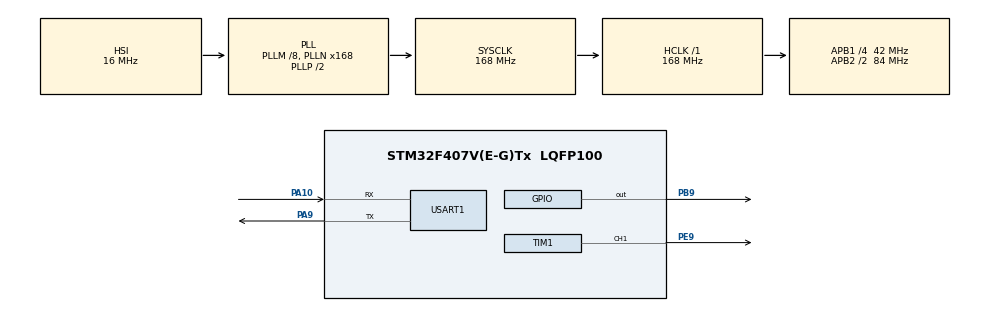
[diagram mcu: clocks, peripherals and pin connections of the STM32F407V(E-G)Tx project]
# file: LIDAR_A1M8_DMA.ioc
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Dma.Request0=USART1_RX
Dma.USART1_RX.0.Direction=DMA_PERIPH_TO_MEMORY
Dma.USART1_RX.0.FIFOMode=DMA_FIFOMODE_DISABLE
Dma.USART1_RX.0.Instance=DMA2_Stream2
Dma.USART1_RX.0.MemDataAlignment=DMA_MDATAALIGN_BYTE
Dma.USART1_RX.0.MemInc=DMA_MINC_ENABLE
Dma.USART1_RX.0.Mode=DMA_NORMAL
Dma.USART1_RX.0.PeriphDataAlignment=DMA_PDATAALIGN_BYTE
Dma.USART1_RX.0.PeriphInc=DMA_PINC_DISABLE
Dma.USART1_RX.0.Priority=DMA_PRIORITY_LOW
Mcu.Family=STM32F4
Mcu.Name=STM32F407V(E-G)Tx
Mcu.Package=LQFP100
NVIC.DMA2_Stream2_IRQn=true\:0\:0\:false\:false\:true\:false\:true\:true
NVIC.PriorityGroup=NVIC_PRIORITYGROUP_4
PA10.Mode=Asynchronous
PA10.Signal=USART1_RX
PA13.Mode=Serial_Wire
PA13.Signal=SYS_JTMS-SWDIO
PA14.Mode=Serial_Wire
PA14.Signal=SYS_JTCK-SWCLK
PA9.Mode=Asynchronous
PA9.Signal=USART1_TX
PB9.Signal=GPIO_Output
PE9.Signal=S_TIM1_CH1
PH0-OSC_IN.Mode=HSE-External-Oscillator
PH0-OSC_IN.Signal=RCC_OSC_IN
PH1-OSC_OUT.Mode=HSE-External-Oscillator
PH1-OSC_OUT.Signal=RCC_OSC_OUT
ProjectManager.HeapSize=0x200
ProjectManager.StackSize=0x400
ProjectManager.TargetToolchain=MDK-ARM V5.32
RCC.48MHZClocksFreq_Value=84000000
RCC.AHBFreq_Value=168000000
RCC.APB1CLKDivider=RCC_HCLK_DIV4
RCC.APB1Freq_Value=42000000
RCC.APB1TimFreq_Value=84000000
RCC.APB2CLKDivider=RCC_HCLK_DIV2
RCC.APB2Freq_Value=84000000
RCC.APB2TimFreq_Value=168000000
RCC.CortexFreq_Value=168000000
RCC.HCLKFreq_Value=168000000
RCC.HSE_VALUE=25000000
RCC.HSI_VALUE=16000000
RCC.LSE_VALUE=32768
RCC.PLLM=8
RCC.PLLN=168
RCC.SYSCLKFreq_VALUE=168000000
RCC.SYSCLKSource=RCC_SYSCLKSOURCE_PLLCLK
RCC.VCOOutputFreq_Value=336000000
SH.S_TIM1_CH1.0=TIM1_CH1,PWM Generation1 CH1
TIM1.Channel-PWM\ Generation1\ CH1=TIM_CHANNEL_1
TIM1.Period=1818-1
TIM1.Prescaler=168-1
USART1.VirtualMode=VM_ASYNC
VP_TIM1_VS_ClockSourceINT.Mode=Internal
board=custom

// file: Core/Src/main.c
/* USER CODE BEGIN Header */
/**
  ******************************************************************************
  * @file           : main.c
  * @brief          : Main program body
  ******************************************************************************
  * @attention
  *
  * Copyright (c) 2023 STMicroelectronics.
  * All rights reserved.
  *
  * This software is licensed under terms that can be found in the LICENSE file
  * in the root directory of this software component.
  * If no LICENSE file comes with this software, it is provided AS-IS.
  *
  ******************************************************************************
  */
/* USER CODE END Header */
#include "main.h"

/* USER CODE BEGIN Includes */
#include <math.h>
/* USER CODE END Includes */

/* USER CODE BEGIN PTD */
typedef struct{
	double dist;
	double ang;
	double degA[45];
	double degB[45];
	double degC[45];
	double degD[45];
	double degE[45];
	double degF[45];
	double degG[45];
	double degH[45];
}lidar_new_t;
/* USER CODE END PTD */

/* USER CODE BEGIN PD */
#define LIDAR_AVG_OFFSET 0
#define RECEIVER_SIZE 5
/* USER CODE END PD */

TIM_HandleTypeDef htim1;

UART_HandleTypeDef huart1;
DMA_HandleTypeDef hdma_usart1_rx;

void SystemClock_Config(void);
static void MX_GPIO_Init(void);
static void MX_DMA_Init(void);
static void MX_TIM1_Init(void);
static void MX_USART1_UART_Init(void);

/* USER CODE BEGIN 0 */
//--------- LIDAR VARIABEL ---------//
uint8_t buf_rec[30];
uint8_t buf_descriptor[100];
float distance_f = 0.0;
float angle_f = 0.0;
uint8_t start_scan_flag = 0;
uint8_t quality = 0;
double degA[45];
double degB[45];
double degC[45];
double degD[45];
double degE[45];
double degF[45];
double degG[45];
double degH[45];
double AVG[8];
long sumDegA = 0, sumDegB = 0, sumDegC = 0, sumDegD = 0, sumDegE = 0, sumDegF = 0, sumDegG=0, sumDegH=0;
int countA = 0, countB=0, countC=0, countD=0, countE=0, countF=0, countG=0, countH=0;

uint8_t is_match = 0x00;
uint8_t is_done = 0x01;
lidar_new_t lidar;

void HAL_UART_RxCpltCallback(UART_HandleTypeDef *huart)
{

	if(is_match >= 0x01){
			//-------------------- STARTING POINT -------------//
					if((buf_rec[1]&0x01)&((buf_rec[0]^(buf_rec[0]>>1))&0x01)){

						//-------------- READ PROPERTY --------------//
						angle_f = ((buf_rec[1] >> 1) | (buf_rec[2] << 7))/64.0;
						distance_f = ((buf_rec[3] | (buf_rec[4]<<8))/4.0)/10;
						quality = buf_rec[0]>>2;
						start_scan_flag = buf_rec[0] & 0x1;

						// Read 45 deg data
						// memperoleh seperempat data sudut 45
						if((((buf_rec[1] >> 1) | (buf_rec[2] << 7))/64.0) >= (0) && ((((buf_rec[1] >> 1) | (buf_rec[2] << 7))/64.0) < (45) )){
							degA[(int)floor((((buf_rec[1] >> 1) | (buf_rec[2] << 7))/64.0))] = ((buf_rec[3] | (buf_rec[4]<<8))/4.0)/10;
						}
						// memperoleh seperempat data sudut 90
						else if((((buf_rec[1] >> 1) | (buf_rec[2] << 7))/64.0) >= (45) && ((((buf_rec[1] >> 1) | (buf_rec[2] << 7))/64.0) < (90) )){
							degB[(int)floor((((buf_rec[1] >> 1) | (buf_rec[2] << 7))/64.0)-(45))] = ((buf_rec[3] | (buf_rec[4]<<8))/4.0)/10;
						}
						// memperoleh seperempat data sudut 135
						else if((((buf_rec[1] >> 1) | (buf_rec[2] << 7))/64.0) >= (90) && ((((buf_rec[1] >> 1) | (buf_rec[2] << 7))/64.0) < (135) )){
							degC[(int)floor((((buf_rec[1] >> 1) | (buf_rec[2] << 7))/64.0)-(90))] = ((buf_rec[3] | (buf_rec[4]<<8))/4.0)/10;
						}
						// memperoleh seperempat data sudut 180
						else if((((buf_rec[1] >> 1) | (buf_rec[2] << 7))/64.0) >= (135) && ((((buf_rec[1] >> 1) | (buf_rec[2] << 7))/64.0) < (180) )){
							degD[(int)floor((((buf_rec[1] >> 1) | (buf_rec[2] << 7))/64.0)-(135))] = ((buf_rec[3] | (buf_rec[4]<<8))/4.0)/10;
						}
						// memperoleh seperempat data sudut 225
						else if((((buf_rec[1] >> 1) | (buf_rec[2] << 7))/64.0) >= (180) && ((((buf_rec[1] >> 1) | (buf_rec[2] << 7))/64.0) < (225) )){
							degE[(int)floor((((buf_rec[1] >> 1) | (buf_rec[2] << 7))/64.0)-(180))] = ((buf_rec[3] | (buf_rec[4]<<8))/4.0)/10;
						}
						// memperoleh seperempat data sudut 270
						else if((((buf_rec[1] >> 1) | (buf_rec[2] << 7))/64.0) >= (225) && ((((buf_rec[1] >> 1) | (buf_rec[2] << 7))/64.0) < (270) )){
							degF[(int)floor((((buf_rec[1] >> 1) | (buf_rec[2] << 7))/64.0)-(225))] = ((buf_rec[3] | (buf_rec[4]<<8))/4.0)/10;
						}
						// memperoleh seperempat data sudut 315
						else if((((buf_rec[1] >> 1) | (buf_rec[2] << 7))/64.0) >= (270) && ((((buf_rec[1] >> 1) | (buf_rec[2] << 7))/64.0) < (315) )){
							degG[(int)floor((((buf_rec[1] >> 1) | (buf_rec[2] << 7))/64.0)-(270))] = ((buf_rec[3] | (buf_rec[4]<<8))/4.0)/10;
						}
						// memperoleh seperempat data sudut 360
						else if((((buf_rec[1] >> 1) | (buf_rec[2] << 7))/64.0) >= (315) && ((((buf_rec[1] >> 1) | (buf_rec[2] << 7))/64.0) < (360) )){
							degH[(int)floor((((buf_rec[1] >> 1) | (buf_rec[2] << 7))/64.0)-(315))] = ((buf_rec[3] | (buf_rec[4]<<8))/4.0)/10;
						}

						// Start to read AVG
						is_match = 0x03;
				}
		}

		//---------------------- CHECK HEADER MESSAGE ------------------------//
		if(is_match == 0x00){
			for(int l = 0; l < 7; l++){

				if(buf_rec[l+0]==0xa5 && buf_rec[l+1]==0x5a && buf_rec[l+2]==0x05 && buf_rec[l+3]==0x00 && buf_rec[l+4]==0x00 && buf_rec[l+5]==0x40 && buf_rec[l+6]==0x81){
					for(uint8_t i =0; i < 7; i++){
						buf_descriptor[i] = buf_rec[l+i];
					}

					is_match = 0x01;
				}
			}
		}
		//---------------- GET AVERAGE DATA ----------------/

		//---------------- RECEIVE CALLBACK DMA ----------------/
		HAL_UART_Receive_DMA(&huart1, buf_rec, RECEIVER_SIZE);
}

/* USER CODE END 0 */

int main(void)
{

  /* MCU Configuration--------------------------------------------------------*/

  /* Reset of all peripherals, Initializes the Flash interface and the Systick. */
  HAL_Init();

  /* Configure the system clock */
  SystemClock_Config();

  /* Initialize all configured peripherals */
  MX_GPIO_Init();
  MX_DMA_Init();
  MX_TIM1_Init();
  MX_USART1_UART_Init();
  /* USER CODE BEGIN 2 */

	//========================= START LIDAR CONFIG ========================================//
	// Motor Start
	TIM1->CCR1 = (100*2000/100);
	HAL_TIM_PWM_Start(&htim1, TIM_CHANNEL_1);
	uint8_t rplidar_stop_msg[] = {0xa5,0x25};

	// Stop Command
	HAL_UART_Transmit(&huart1, rplidar_stop_msg, 2, 100);
	HAL_Delay(20);
	HAL_Delay(1000);

	// Start Scan
	uint8_t rplidar_scan_msg[] = {0xA5, 0x20};
	HAL_UART_Transmit(&huart1, rplidar_scan_msg, 2,100);
	HAL_UART_Receive_DMA(&huart1, buf_rec, 7);

  /* USER CODE END 2 */

  /* Infinite loop */
  /* USER CODE BEGIN WHILE */
  while (1)
  {
		sumDegA = 0, sumDegB = 0, sumDegC = 0, sumDegD = 0, sumDegE = 0, sumDegF = 0, sumDegG=0, sumDegH=0;
		countA = 0, countB=0, countC=0, countD=0, countE=0, countF=0, countG=0, countH=0;
			for(int i =0; i < 45; i++){
						if(degA[i] > 0.1){
							sumDegA += degA[i];
							countA++;
						}
						if(degB[i] > 0.1){
							sumDegB += degB[i];
							countB++;
						}
						if(degC[i] > 0.1){
							sumDegC += degC[i];
							countC++;
						}
						if(degD[i] > 0.1){
							sumDegD += degD[i];
							countD++;
						}
						if(degE[i] > 0.1){
							sumDegE += degE[i];
							countE++;
						}
						if(degF[i] > 0.1){
							sumDegF += degF[i];
							countF++;
						}
						if(degG[i] > 0.1){
							sumDegG += degG[i];
							countG++;
						}
						if(degH[i] > 0.1){
							sumDegH += degH[i];
							countH++;
						}
			}

			AVG[0] = sumDegA/countA;
			AVG[1] = sumDegB/countB;
			AVG[2] = sumDegC/countC;
			AVG[3] = sumDegD/countD;
			AVG[4] = sumDegE/countE;
			AVG[5] = sumDegF/countF;
			AVG[6] = sumDegG/countG;
			AVG[7] = sumDegH/countH;
    /* USER CODE END WHILE */

  }
}

void SystemClock_Config(void)
{
  RCC_OscInitTypeDef RCC_OscInitStruct = {0};
  RCC_ClkInitTypeDef RCC_ClkInitStruct = {0};

  /** Configure the main internal regulator output voltage
  */
  __HAL_RCC_PWR_CLK_ENABLE();
  __HAL_PWR_VOLTAGESCALING_CONFIG(PWR_REGULATOR_VOLTAGE_SCALE1);

  /** Initializes the RCC Oscillators according to the specified parameters
  * in the RCC_OscInitTypeDef structure.
  */
  RCC_OscInitStruct.OscillatorType = RCC_OSCILLATORTYPE_HSI;
  RCC_OscInitStruct.HSIState = RCC_HSI_ON;
  RCC_OscInitStruct.HSICalibrationValue = RCC_HSICALIBRATION_DEFAULT;
  RCC_OscInitStruct.PLL.PLLState = RCC_PLL_ON;
  RCC_OscInitStruct.PLL.PLLSource = RCC_PLLSOURCE_HSI;
  RCC_OscInitStruct.PLL.PLLM = 8;
  RCC_OscInitStruct.PLL.PLLN = 168;
  RCC_OscInitStruct.PLL.PLLP = RCC_PLLP_DIV2;
  RCC_OscInitStruct.PLL.PLLQ = 4;
  if (HAL_RCC_OscConfig(&RCC_OscInitStruct) != HAL_OK)
  {
    Error_Handler();
  }

  /** Initializes the CPU, AHB and APB buses clocks
  */
  RCC_ClkInitStruct.ClockType = RCC_CLOCKTYPE_HCLK|RCC_CLOCKTYPE_SYSCLK
                              |RCC_CLOCKTYPE_PCLK1|RCC_CLOCKTYPE_PCLK2;
  RCC_ClkInitStruct.SYSCLKSource = RCC_SYSCLKSOURCE_PLLCLK;
  RCC_ClkInitStruct.AHBCLKDivider = RCC_SYSCLK_DIV1;
  RCC_ClkInitStruct.APB1CLKDivider = RCC_HCLK_DIV4;
  RCC_ClkInitStruct.APB2CLKDivider = RCC_HCLK_DIV2;

  if (HAL_RCC_ClockConfig(&RCC_ClkInitStruct, FLASH_LATENCY_5) != HAL_OK)
  {
    Error_Handler();
  }
}

static void MX_TIM1_Init(void)
{

  TIM_ClockConfigTypeDef sClockSourceConfig = {0};
  TIM_MasterConfigTypeDef sMasterConfig = {0};
  TIM_OC_InitTypeDef sConfigOC = {0};
  TIM_BreakDeadTimeConfigTypeDef sBreakDeadTimeConfig = {0};

  htim1.Instance = TIM1;
  htim1.Init.Prescaler = 168-1;
  htim1.Init.CounterMode = TIM_COUNTERMODE_UP;
  htim1.Init.Period = 1818-1;
  htim1.Init.ClockDivision = TIM_CLOCKDIVISION_DIV1;
  htim1.Init.RepetitionCounter = 0;
  htim1.Init.AutoReloadPreload = TIM_AUTORELOAD_PRELOAD_DISABLE;
  if (HAL_TIM_Base_Init(&htim1) != HAL_OK)
  {
    Error_Handler();
  }
  sClockSourceConfig.ClockSource = TIM_CLOCKSOURCE_INTERNAL;
  if (HAL_TIM_ConfigClockSource(&htim1, &sClockSourceConfig) != HAL_OK)
  {
    Error_Handler();
  }
  if (HAL_TIM_PWM_Init(&htim1) != HAL_OK)
  {
    Error_Handler();
  }
  sMasterConfig.MasterOutputTrigger = TIM_TRGO_RESET;
  sMasterConfig.MasterSlaveMode = TIM_MASTERSLAVEMODE_DISABLE;
  if (HAL_TIMEx_MasterConfigSynchronization(&htim1, &sMasterConfig) != HAL_OK)
  {
    Error_Handler();
  }
  sConfigOC.OCMode = TIM_OCMODE_PWM1;
  sConfigOC.Pulse = 0;
  sConfigOC.OCPolarity = TIM_OCPOLARITY_HIGH;
  sConfigOC.OCNPolarity = TIM_OCNPOLARITY_HIGH;
  sConfigOC.OCFastMode = TIM_OCFAST_DISABLE;
  sConfigOC.OCIdleState = TIM_OCIDLESTATE_RESET;
  sConfigOC.OCNIdleState = TIM_OCNIDLESTATE_RESET;
  if (HAL_TIM_PWM_ConfigChannel(&htim1, &sConfigOC, TIM_CHANNEL_1) != HAL_OK)
  {
    Error_Handler();
  }
  sBreakDeadTimeConfig.OffStateRunMode = TIM_OSSR_DISABLE;
  sBreakDeadTimeConfig.OffStateIDLEMode = TIM_OSSI_DISABLE;
  sBreakDeadTimeConfig.LockLevel = TIM_LOCKLEVEL_OFF;
  sBreakDeadTimeConfig.DeadTime = 0;
  sBreakDeadTimeConfig.BreakState = TIM_BREAK_DISABLE;
  sBreakDeadTimeConfig.BreakPolarity = TIM_BREAKPOLARITY_HIGH;
  sBreakDeadTimeConfig.AutomaticOutput = TIM_AUTOMATICOUTPUT_DISABLE;
  if (HAL_TIMEx_ConfigBreakDeadTime(&htim1, &sBreakDeadTimeConfig) != HAL_OK)
  {
    Error_Handler();
  }
  HAL_TIM_MspPostInit(&htim1);

}

static void MX_USART1_UART_Init(void)
{

  huart1.Instance = USART1;
  huart1.Init.BaudRate = 115200;
  huart1.Init.WordLength = UART_WORDLENGTH_8B;
  huart1.Init.StopBits = UART_STOPBITS_1;
  huart1.Init.Parity = UART_PARITY_NONE;
  huart1.Init.Mode = UART_MODE_TX_RX;
  huart1.Init.HwFlowCtl = UART_HWCONTROL_NONE;
  huart1.Init.OverSampling = UART_OVERSAMPLING_16;
  if (HAL_UART_Init(&huart1) != HAL_OK)
  {
    Error_Handler();
  }

}

static void MX_DMA_Init(void)
{

  /* DMA controller clock enable */
  __HAL_RCC_DMA2_CLK_ENABLE();

  /* DMA interrupt init */
  /* DMA2_Stream2_IRQn interrupt configuration */
  HAL_NVIC_SetPriority(DMA2_Stream2_IRQn, 0, 0);
  HAL_NVIC_EnableIRQ(DMA2_Stream2_IRQn);

}

static void MX_GPIO_Init(void)
{
  GPIO_InitTypeDef GPIO_InitStruct = {0};

  /* GPIO Ports Clock Enable */
  __HAL_RCC_GPIOH_CLK_ENABLE();
  __HAL_RCC_GPIOE_CLK_ENABLE();
  __HAL_RCC_GPIOA_CLK_ENABLE();
  __HAL_RCC_GPIOB_CLK_ENABLE();

  /*Configure GPIO pin Output Level */
  HAL_GPIO_WritePin(GPIOB, GPIO_PIN_9, GPIO_PIN_RESET);

  /*Configure GPIO pin : PB9 */
  GPIO_InitStruct.Pin = GPIO_PIN_9;
  GPIO_InitStruct.Mode = GPIO_MODE_OUTPUT_PP;
  GPIO_InitStruct.Pull = GPIO_NOPULL;
  GPIO_InitStruct.Speed = GPIO_SPEED_FREQ_LOW;
  HAL_GPIO_Init(GPIOB, &GPIO_InitStruct);

}

void Error_Handler(void)
{
  __disable_irq();
  while (1)
  {
  }
}
